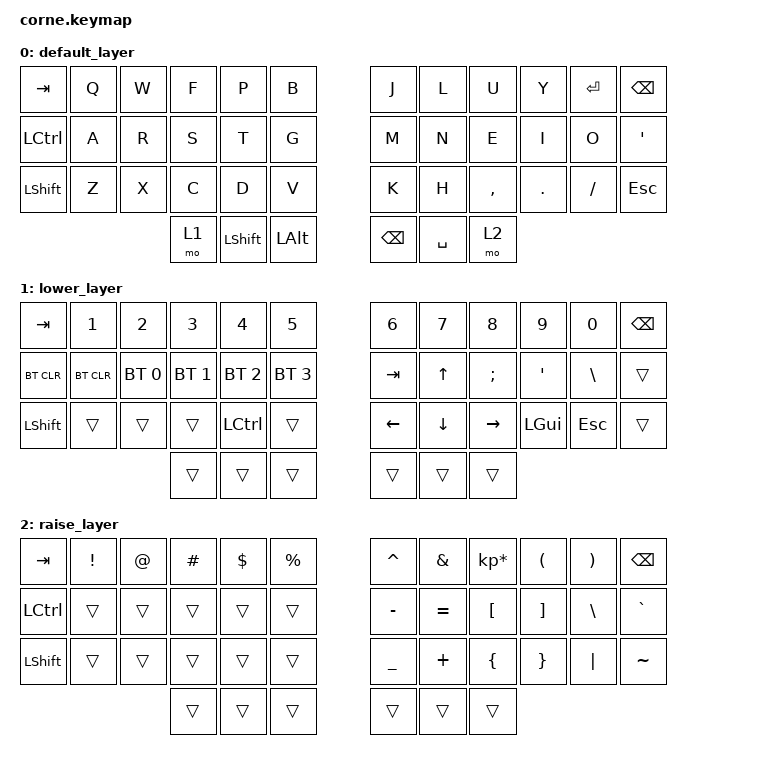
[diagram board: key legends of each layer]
/*
 * Copyright (c) 2020 The ZMK Contributors
 *
 * SPDX-License-Identifier: MIT
 */

#include <behaviors.dtsi>
#include <dt-bindings/zmk/keys.h>
#include <dt-bindings/zmk/bt.h>
#include <dt-bindings/zmk/outputs.h>

/ {
        keymap {
                compatible = "zmk,keymap";

                default_layer {
// -----------------------------------------------------------------------------------------
// |  TAB |  Q  |  W  |  F  |  P  |  B  |   |  J  |  L   |  U  |  Y  |  ENT  | BKSP |
// | CTRL |  A  |  R  |  S  |  T  |  G  |   |  M  |  N   |  E  |  I  |  O  |  '   |
// | SHFT |  Z  |  X  |  C  |  D  |  V  |   |  K  |  H   |  ,  |  .  |  /  | ESC  |
//                    | LWR | SHFT | ALT |   | BKSP | SPC | RSE |
                        bindings = <
   &kp TAB   &kp Q &kp W &kp F &kp P &kp B   &kp J &kp L  &kp U     &kp Y   &kp RET    &kp BSPC
   &kp LCTRL &kp A &kp R &kp S &kp T &kp G   &kp M &kp N  &kp E     &kp I   &kp O &kp SQT
   &kp LSHFT &kp Z &kp X &kp C &kp D &kp V   &kp K &kp H  &kp COMMA &kp DOT &kp FSLH &kp ESC
                  &mo 1 &kp LSHIFT &kp LALT   &kp BSPC &kp SPACE &mo 2
                        >;
                };
                lower_layer {
// -----------------------------------------------------------------------------------------
// |  TAB |  1  |  2  |  3  |  4  |  5  |   |  6  |  7  |  8  |  9  |  0  | BKSP |
// | BTCLR| BTCLR | BT1 | BT2 | BT3 | BT4 |   | TAB |  UP |  ;  |  '  |  \  |      |
// | SHFT |     |     |     | CTRL |     |     | LFT | DWN | RGT | GUI | ESC |      |
//                    |     |     |     |   |     |     |     |
                        bindings = <
   &kp TAB    &kp N1       &kp N2       &kp N3       &kp N4       &kp N5         &kp N6   &kp N7   &kp N8 &kp N9    &kp N0 &kp BSPC
   &bt BT_CLR &bt BT_CLR &bt BT_SEL 0 &bt BT_SEL 1 &bt BT_SEL 2 &bt BT_SEL 3   &kp TAB &kp UP &kp SEMI &kp SQT &kp BSLH &trans
   &kp LSHFT  &trans       &trans       &trans      &kp LCTRL       &trans         &kp LEFT   &kp DOWN   &kp RIGHT &kp LGUI    &kp ESC &trans
                          	        &trans     &trans       &trans      &trans  &trans   &trans
                        >;
                };

                raise_layer {
// -----------------------------------------------------------------------------------------
// |  TAB |  !  |  @  |  #  |  $  |  %  |   |  ^  |  &  |  *  |  (  |  )  | BKSP |
// | CTRL |     |     |     |     |     |   |  -  |  =  |  [  |  ]  |  \  |  `   |
// | SHFT |     |     |     |     |     |   |  _  |  +  |  {  |  }  | "|" |  ~   |
//                    |     |     |     |   |     |     |     |
                        bindings = <
   &kp  TAB  &kp EXCL &kp AT &kp HASH &kp DLLR &kp PRCNT   &kp CARET &kp AMPS  &kp KP_MULTIPLY &kp LPAR &kp RPAR &kp BSPC
   &kp LCTRL &trans   &trans &trans   &trans   &trans      &kp MINUS &kp EQUAL &kp LBKT        &kp RBKT &kp BSLH &kp GRAVE
   &kp LSHFT &trans   &trans &trans   &trans   &trans      &kp UNDER &kp PLUS  &kp LBRC        &kp RBRC &kp PIPE &kp TILDE
                    	     &trans &trans   &trans   &trans   &trans    &trans
                        >;
                };
        };
};
